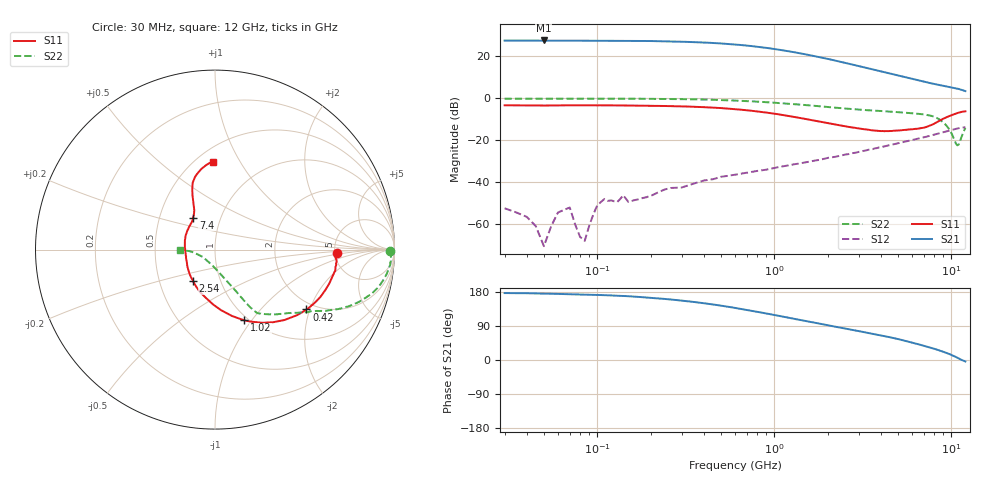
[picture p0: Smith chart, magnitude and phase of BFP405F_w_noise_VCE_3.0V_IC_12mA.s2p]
! Infineon Technologies  Discrete & RF Semiconductors
! BFP405F
! VCE =  3.0 V,  IC =  12 mA
! Common Emitter S-Parameters:  Nov 2015
# GHz  S  MA  R  50
!  f  S11  S21  S12  S22
! GHz  MAG  ANG  MAG  ANG  MAG  ANG  MAG  ANG
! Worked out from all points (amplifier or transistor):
!   239 points, 30 MHz to 12 GHz, reference 50 ohm
!   highest |S21| = 27.6 dB at 50 MHz (marker M1)
!   |S21| within 3 dB of that: start of sweep to 801.8 MHz
!   unconditionally stable (mu >= 1): 2.143 GHz to end of sweep
!   at 300 MHz: K = 0.14, MSG = 34.7 dB, |S12| = -42.5 dB
!   at 1.88 GHz: K = 0.93, MSG = 24.1 dB, |S12| = -29.0 dB
!   at 12 GHz: K = 1.38, MAG = 4.9 dB, |S12| = -13.8 dB
!   lowest NFmin = 1.80 dB at 450 MHz
!   S11 on the Smith chart (normalised r, x): 30 MHz: 5.23, -0.42; 420 MHz: 1.79, -1.90; 1.02 GHz: 0.96, -0.92; 2.54 GHz: 0.74, -0.27; 7.4 GHz: 0.74, +0.28; 12 GHz: 0.60, +0.78
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0.03  0.6807 -1.8  23.72 176.6  0.0024 118.4  0.9772 -0.4
0.04  0.6792 -2.8  23.73 176.2  0.0015 148.8  0.9798 -0.8
0.05  0.6725 -3.8  23.88 175.1  0.0003 174.7  0.9837 -1.1
0.06  0.6788 -4.8  23.65 174.5  0.0019 69.1  0.9831 -1.7
0.07  0.6811 -5.7  23.64 173.4  0.0025 92.0  0.9823 -2.0
0.085  0.6797 -6.9  23.54 172.6  0.0004 169.9  0.9822 -2.5
0.11  0.6792 -9.3  23.42 170.9  0.004 91.7  0.9795 -3.5
0.15  0.6722 -12.5  23.37 168.3  0.0034 82.2  0.9802 -4.9
0.24  0.6556 -19.8  22.76 161.2  0.0067 84.3  0.967 -7.9
0.32  0.6373 -25.9  22.1 155.4  0.0082 85.5  0.9513 -10.5
0.42  0.609 -33.2  21.13 148.5  0.0113 78.8  0.9303 -13.3
0.6  0.5516 -45.3  19.13 137.5  0.0151 72.8  0.8831 -17.6
0.8  0.4873 -56.8  16.92 127.2  0.0186 73.1  0.8331 -21.4
1.02  0.4255 -67.6  14.77 118.0  0.0223 69.5  0.7806 -24.7
1.3  0.3576 -79.9  12.49 108.4  0.0269 67.6  0.7249 -27.7
1.64  0.3 -93.3  10.36 99.6  0.032 68.9  0.6696 -30.7
2.02  0.2547 -107.8  8.628 91.4  0.0383 67.9  0.62 -34.3
2.54  0.214 -125.2  6.91 82.6  0.0458 66.1  0.5694 -38.2
4.5  0.1664 -178.5  3.87 60.0  0.0771 60.8  0.4827 -48.4
7.4  0.2157 124.3  2.36 34.2  0.1249 49.9  0.3967 -57.8
10.8  0.4433 101.6  1.699 6.0  0.1907 30.8  0.0759 -126.2
12  0.4898 91.3  1.484 -4.0  0.205 23.9  0.1965 -179.5
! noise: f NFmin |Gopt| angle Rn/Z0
0.45  1.8  0.16  4  0.33
0.9  1.81  0.15  8  0.33
1.5  1.86  0.13  12  0.23
1.9  1.91  0.12  19  0.29
2.4  2.04  0.1  26  0.38
3  2.11  0.08  35  0.4
3.5  2.17  0.06  40  0.45
4.5  2.36  0.03  -10  0.19
5.5  2.6  0.12  -85  0.06
